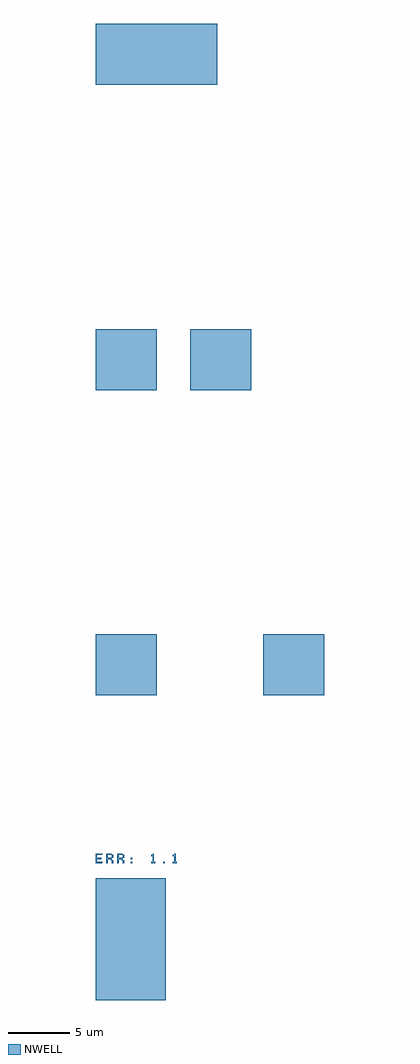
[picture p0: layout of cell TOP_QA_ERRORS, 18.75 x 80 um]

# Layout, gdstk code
import gdstk
lib = gdstk.Library(unit=1e-6, precision=1e-09)
def R(c, l, rs):  # rectangles x0, y0, x1, y1
    for r in rs: c.add(gdstk.rectangle(r[:2], r[2:], *l))
def P(c, l, *ps):  # polygons
    for p in ps: c.add(gdstk.Polygon(p, *l))
NWELL = (42, 0)

err_n_well_1_1 = lib.new_cell('ERR_N_WELL_1_1')
R(err_n_well_1_1, NWELL, [(0,0,5.75,10), (2.889,11.222,3,11.333), (5.556,11.222,5.667,11.333), (2.889,11.556,3,11.667)])
P(err_n_well_1_1, NWELL, [(0,11.222),(0.111,11.222),(0.222,11.222),(0.333,11.222),(0.444,11.222),(0.556,11.222),(0.556,11.333),(0.444,11.333),(0.333,11.333),(0.222,11.333),(0.111,11.333),(0.111,11.444),(0.111,11.556),(0.222,11.556),(0.333,11.556),(0.444,11.556),(0.444,11.667),(0.333,11.667),(0.222,11.667),(0.111,11.667),(0.111,11.778),(0.111,11.889),(0.222,11.889),(0.333,11.889),(0.444,11.889),(0.556,11.889),(0.556,12),(0.444,12),(0.333,12),(0.222,12),(0.111,12),(0,12),(0,11.889),(0,11.778),(0,11.667),(0,11.556),(0,11.444),(0,11.333)],
  [(0.889,11.222),(1,11.222),(1,11.333),(1,11.444),(1,11.556),(1.111,11.556),(1.222,11.556),(1.222,11.444),(1.333,11.444),(1.333,11.556),(1.333,11.667),(1.222,11.667),(1.111,11.667),(1,11.667),(1,11.778),(1,11.889),(1.111,11.889),(1.222,11.889),(1.333,11.889),(1.333,12),(1.222,12),(1.111,12),(1,12),(0.889,12),(0.889,11.889),(0.889,11.778),(0.889,11.667),(0.889,11.556),(0.889,11.444),(0.889,11.333)],
  [(1.333,11.222),(1.444,11.222),(1.444,11.333),(1.444,11.444),(1.333,11.444),(1.333,11.333)],
  [(1.333,11.667),(1.444,11.667),(1.444,11.778),(1.444,11.889),(1.333,11.889),(1.333,11.778)],
  [(1.778,11.222),(1.889,11.222),(1.889,11.333),(1.889,11.444),(1.889,11.556),(2,11.556),(2.111,11.556),(2.111,11.444),(2.222,11.444),(2.222,11.556),(2.222,11.667),(2.111,11.667),(2,11.667),(1.889,11.667),(1.889,11.778),(1.889,11.889),(2,11.889),(2.111,11.889),(2.222,11.889),(2.222,12),(2.111,12),(2,12),(1.889,12),(1.778,12),(1.778,11.889),(1.778,11.778),(1.778,11.667),(1.778,11.556),(1.778,11.444),(1.778,11.333)],
  [(2.222,11.222),(2.333,11.222),(2.333,11.333),(2.333,11.444),(2.222,11.444),(2.222,11.333)],
  [(2.222,11.667),(2.333,11.667),(2.333,11.778),(2.333,11.889),(2.222,11.889),(2.222,11.778)],
  [(4.556,11.222),(4.667,11.222),(4.778,11.222),(4.889,11.222),(4.889,11.333),(4.778,11.333),(4.778,11.444),(4.778,11.556),(4.778,11.667),(4.778,11.778),(4.778,11.889),(4.778,12),(4.667,12),(4.667,11.889),(4.556,11.889),(4.556,11.778),(4.667,11.778),(4.667,11.667),(4.667,11.556),(4.667,11.444),(4.667,11.333),(4.556,11.333)],
  [(6.333,11.222),(6.444,11.222),(6.556,11.222),(6.667,11.222),(6.667,11.333),(6.556,11.333),(6.556,11.444),(6.556,11.556),(6.556,11.667),(6.556,11.778),(6.556,11.889),(6.556,12),(6.444,12),(6.444,11.889),(6.333,11.889),(6.333,11.778),(6.444,11.778),(6.444,11.667),(6.444,11.556),(6.444,11.444),(6.444,11.333),(6.333,11.333)])

err_n_well_1_2 = lib.new_cell('ERR_N_WELL_1_2')
R(err_n_well_1_2, NWELL, [(0,0,5,5), (13.75,0,18.75,5)])

err_n_well_1_3 = lib.new_cell('ERR_N_WELL_1_3')
R(err_n_well_1_3, NWELL, [(0,0,5,5), (7.75,0,12.75,5)])

err_n_well_1_4 = lib.new_cell('ERR_N_WELL_1_4')
R(err_n_well_1_4, NWELL, [(0,0,5,5), (4.95,0,9.95,5)])

top_qa_errors = lib.new_cell('TOP_QA_ERRORS')
top_qa_errors.add(gdstk.Reference(err_n_well_1_1, (0,0)))
top_qa_errors.add(gdstk.Reference(err_n_well_1_2, (0,25)))
top_qa_errors.add(gdstk.Reference(err_n_well_1_3, (0,50)))
top_qa_errors.add(gdstk.Reference(err_n_well_1_4, (0,75)))

lib.write_gds('TOP_QA_ERRORS.gds')
